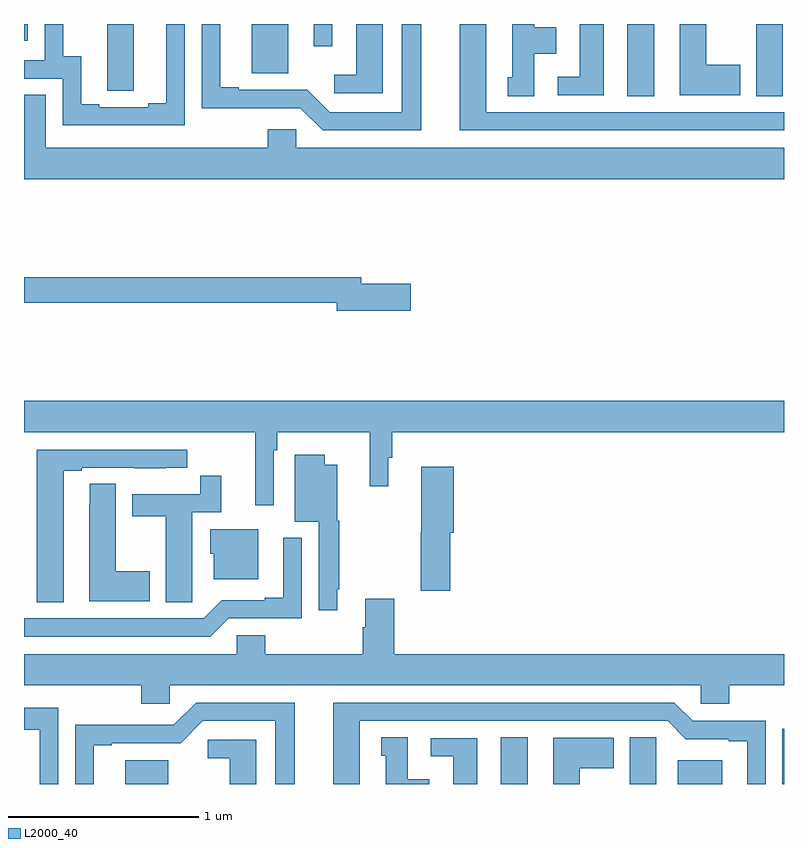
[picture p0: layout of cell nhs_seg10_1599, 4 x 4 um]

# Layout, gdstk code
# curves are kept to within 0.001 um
import gdstk
lib = gdstk.Library(unit=1e-6, precision=1e-09)
def R(c, l, rs):  # rectangles x0, y0, x1, y1
    for r in rs: c.add(gdstk.rectangle(r[:2], r[2:], *l))
def P(c, l, *ps):  # polygons
    for p in ps: c.add(gdstk.Polygon(p, *l))
L2000_40 = (2000, 40)

nhs_seg10_1599 = lib.new_cell('nhs_seg10_1599')
R(nhs_seg10_1599, L2000_40, [(195.533,1262.5,195.76,1262.626), (197.51,1262.5,197.65,1262.747), (198.44,1262.5,198.676,1262.626), (198.176,1266.121,198.316,1266.5), (196.199,1266.242,196.39,1266.5), (196.526,1266.384,196.623,1266.5), (195,1266.413,195.019,1266.5)])
P(nhs_seg10_1599, L2000_40, [(199,1266.036),(197.434,1266.036),(197.434,1266.5),(197.294,1266.5),(197.294,1265.94),(199,1265.94)],
  [(198.769,1266.285),(198.592,1266.285),(198.592,1266.5),(198.452,1266.5),(198.452,1266.125),(198.769,1266.125)],
  [(195.577,1266.5),(195.437,1266.5),(195.437,1266.256),(195.438,1266.256),(195.438,1266.148),(195.577,1266.148)],
  [(198.052,1266.5),(197.924,1266.5),(197.924,1266.222),(197.808,1266.222),(197.808,1266.126),(198.052,1266.126)],
  [(197.092,1266.5),(196.988,1266.5),(196.988,1266.036),(196.608,1266.036),(196.491,1266.153),(196.129,1266.153),(196.129,1266.166),(196.033,1266.166),(196.033,1266.5),(195.936,1266.5),(195.936,1266.056),(196.455,1266.057),(196.572,1265.94),(197.092,1265.94)],
  [(195.846,1266.5),(195.749,1266.5),(195.749,1266.083),(195.653,1266.083),(195.653,1266.063),(195.397,1266.063),(195.397,1266.078),(195.301,1266.078),(195.301,1266.329),(195.207,1266.329),(195.207,1266.5),(195.108,1266.5),(195.108,1266.309),(195,1266.309),(195,1266.213),(195.204,1266.213),(195.204,1265.967),(195.846,1265.967)],
  [(197.686,1266.344),(197.8,1266.344),(197.8,1266.484),(197.686,1266.484),(197.686,1266.5),(197.57,1266.5),(197.57,1266.219),(197.546,1266.219),(197.546,1266.121),(197.686,1266.121)],
  [(198.993,1266.232),(198.994,1266.232),(198.994,1266.5),(198.854,1266.5),(198.854,1266.121),(198.993,1266.121)],
  [(196.888,1266.5),(196.748,1266.5),(196.748,1266.232),(196.632,1266.232),(196.632,1266.135),(196.888,1266.135)],
  [(199,1265.848),(196.434,1265.848),(196.434,1265.946),(196.283,1265.946),(196.283,1265.848),(195.115,1265.848),(195.115,1266.128),(195,1266.128),(195,1265.684),(199,1265.684)],
  [(197.035,1265.132),(196.774,1265.132),(196.774,1265.168),(195,1265.168),(195,1265.032),(196.646,1265.032),(196.646,1264.99),(197.035,1264.99)],
  [(196.314,1264.256),(196.334,1264.256),(196.334,1264.352),(196.819,1264.352),(196.819,1264.068),(196.918,1264.068),(196.918,1264.218),(196.937,1264.218),(196.937,1264.352),(199,1264.352),(199,1264.516),(195,1264.516),(195,1264.352),(196.217,1264.352),(196.217,1263.966),(196.314,1263.966)],
  [(195.208,1264.149),(195.304,1264.149),(195.304,1264.164),(195.58,1264.164),(195.58,1264.163),(195.746,1264.163),(195.746,1264.164),(195.859,1264.164),(195.859,1264.26),(195.068,1264.26),(195.068,1263.457),(195.208,1263.457)],
  [(196.648,1263.526),(196.66,1263.526),(196.66,1263.885),(196.648,1263.885),(196.648,1264.18),(196.582,1264.18),(196.582,1264.234),(196.424,1264.234),(196.424,1263.881),(196.551,1263.881),(196.551,1263.414),(196.648,1263.414)],
  [(197.243,1263.822),(197.261,1263.822),(197.261,1264.171),(197.09,1264.171),(197.09,1263.822),(197.089,1263.822),(197.089,1263.516),(197.243,1263.516)],
  [(195.885,1263.568),(195.886,1263.568),(195.886,1263.93),(196.037,1263.93),(196.037,1264.123),(195.928,1264.123),(195.928,1264.026),(195.569,1264.026),(195.569,1263.91),(195.746,1263.91),(195.746,1263.457),(195.885,1263.457)],
  [(195.661,1263.621),(195.484,1263.621),(195.484,1264.079),(195.345,1264.079),(195.345,1263.971),(195.344,1263.971),(195.344,1263.461),(195.661,1263.461)],
  [(196.234,1263.841),(195.98,1263.841),(195.98,1263.711),(195.998,1263.711),(195.998,1263.578),(196.234,1263.578)],
  [(196.077,1263.372),(196.461,1263.372),(196.461,1263.796),(196.364,1263.796),(196.364,1263.481),(196.268,1263.481),(196.268,1263.468),(196.041,1263.468),(195.945,1263.372),(195,1263.372),(195,1263.276),(195.981,1263.276)],
  [(195.768,1263.02),(198.561,1263.02),(198.561,1262.922),(198.713,1262.922),(198.713,1263.02),(199,1263.02),(199,1263.184),(196.949,1263.184),(196.949,1263.475),(196.796,1263.475),(196.796,1263.326),(196.784,1263.326),(196.784,1263.184),(196.271,1263.184),(196.271,1263.282),(196.119,1263.282),(196.119,1263.184),(195,1263.184),(195,1263.02),(195.617,1263.02),(195.617,1262.922),(195.768,1262.922)],
  [(196.768,1262.832),(198.387,1262.832),(198.483,1262.736),(198.71,1262.736),(198.71,1262.724),(198.806,1262.724),(198.806,1262.5),(198.903,1262.5),(198.903,1262.832),(198.519,1262.832),(198.423,1262.928),(196.628,1262.928),(196.628,1262.5),(196.768,1262.5)],
  [(195.367,1262.703),(195.463,1262.703),(195.463,1262.715),(195.825,1262.715),(195.942,1262.832),(196.322,1262.832),(196.322,1262.5),(196.426,1262.5),(196.426,1262.928),(195.906,1262.928),(195.789,1262.811),(195.533,1262.811),(195.533,1262.813),(195.27,1262.813),(195.27,1262.5),(195.367,1262.5)],
  [(195.18,1262.901),(195,1262.901),(195,1262.785),(195.083,1262.785),(195.083,1262.5),(195.18,1262.5)],
  [(199,1262.791),(198.992,1262.791),(198.992,1262.555),(198.991,1262.555),(198.991,1262.5),(199,1262.5)],
  [(198.328,1262.636),(198.327,1262.636),(198.327,1262.747),(198.188,1262.747),(198.188,1262.5),(198.328,1262.5)],
  [(197.134,1262.524),(197.02,1262.524),(197.02,1262.747),(196.88,1262.747),(196.88,1262.649),(196.904,1262.649),(196.904,1262.5),(197.134,1262.5)],
  [(197.926,1262.584),(198.103,1262.584),(198.103,1262.743),(197.786,1262.743),(197.786,1262.5),(197.926,1262.5)],
  [(197.386,1262.742),(197.142,1262.742),(197.142,1262.646),(197.258,1262.646),(197.258,1262.5),(197.386,1262.5)],
  [(196.222,1262.733),(195.966,1262.733),(195.966,1262.636),(196.082,1262.636),(196.082,1262.5),(196.222,1262.5)])

lib.write_gds('nhs_seg10_1599.gds')
